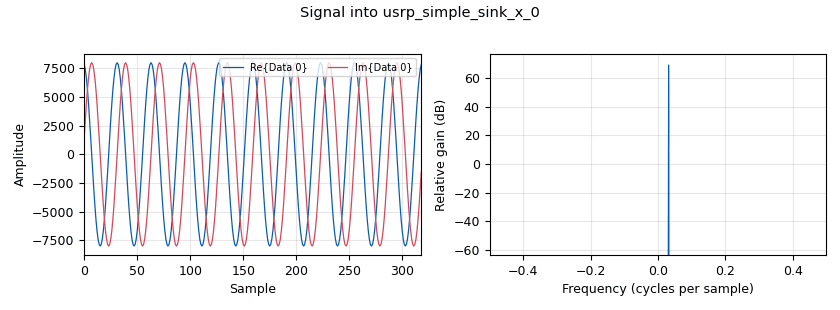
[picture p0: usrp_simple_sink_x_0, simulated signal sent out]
<?xml version='1.0' encoding='utf-8'?>
<flow_graph>
<block>
<key>variable</key>
<param><key>id</key><value>samp_rate</value></param>
<param><key>value</key><value>32000</value></param>
</block>
<block>
<key>options</key>
<param><key>id</key><value>Calibration</value></param>
<param><key>title</key><value>Calibration</value></param>
<param><key>author</key><value>Charles</value></param>
<param><key>description</key><value>gnuradio flow graph</value></param>
<param><key>generate_options</key><value>wx_gui</value></param>
<param><key>category</key><value>Custom</value></param>
</block>
<block>
<key>gr_sig_source_x</key>
<param><key>id</key><value>gr_sig_source_x_0</value></param>
<param><key>type</key><value>complex</value></param>
<param><key>samp_rate</key><value>samp_rate</value></param>
<param><key>waveform</key><value>gr.GR_COS_WAVE</value></param>
<param><key>freq</key><value>1e3</value></param>
<param><key>amp</key><value>1</value></param>
<param><key>offset</key><value>0</value></param>
</block>
<block>
<key>gr_throttle</key>
<param><key>id</key><value>gr_throttle_0</value></param>
<param><key>type</key><value>complex</value></param>
<param><key>samples_per_second</key><value>(8*samp_rate)</value></param>
<param><key>vlen</key><value>1</value></param>
</block>
<block>
<key>usrp_simple_sink_x</key>
<param><key>id</key><value>usrp_simple_sink_x_0</value></param>
<param><key>type</key><value>complex</value></param>
<param><key>format</key><value></value></param>
<param><key>which</key><value>0</value></param>
<param><key>interpolation</key><value>500</value></param>
<param><key>frequency</key><value>(440e6+freq_offset)</value></param>
<param><key>gain</key><value>0</value></param>
<param><key>side</key><value>A</value></param>
<param><key>transmit</key><value>tx_enb</value></param>
</block>
<block>
<key>gr_multiply_const_vxx</key>
<param><key>id</key><value>gr_multiply_const_vxx_0</value></param>
<param><key>type</key><value>complex</value></param>
<param><key>const</key><value>8000</value></param>
<param><key>vlen</key><value>1</value></param>
</block>
<block>
<key>variable_slider</key>
<param><key>id</key><value>freq_offset</value></param>
<param><key>label</key><value></value></param>
<param><key>value</key><value>0</value></param>
<param><key>min</key><value>-10000</value></param>
<param><key>max</key><value>0</value></param>
<param><key>num_steps</key><value>200</value></param>
<param><key>slider_length</key><value>200</value></param>
<param><key>slider_type</key><value>horizontal</value></param>
</block>
<connection><source_block_id>gr_sig_source_x_0</source_block_id><sink_block_id>gr_throttle_0</sink_block_id><source_key>0</source_key><sink_key>0</sink_key></connection>
<connection><source_block_id>gr_multiply_const_vxx_0</source_block_id><sink_block_id>usrp_simple_sink_x_0</sink_block_id><source_key>0</source_key><sink_key>0</sink_key></connection>
<connection><source_block_id>gr_throttle_0</source_block_id><sink_block_id>gr_multiply_const_vxx_0</sink_block_id><source_key>0</source_key><sink_key>0</sink_key></connection>
</flow_graph>
